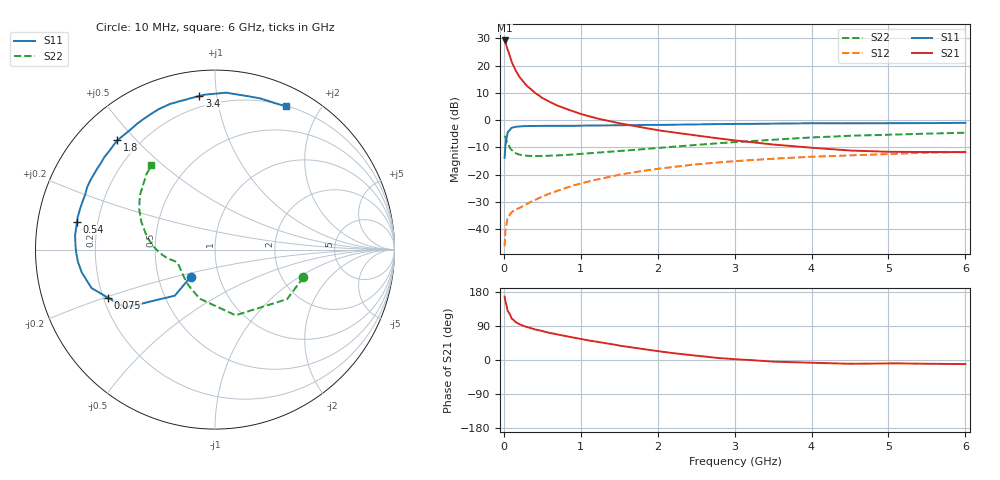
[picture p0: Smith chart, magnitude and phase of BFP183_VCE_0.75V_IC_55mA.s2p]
! Infineon Technologies  Discrete & RF Semiconductors
! BFP183
! VCE = 0.75V,  IC =  55 mA
! Common Emitter S-Parameters:  Jan 2016
# GHz  S  MA  R  50
!  f  S11  S21  S12  S22
! GHz  MAG  ANG  MAG  ANG  MAG  ANG  MAG  ANG
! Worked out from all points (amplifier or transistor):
!   210 points, 10 MHz to 6 GHz, reference 50 ohm
!   highest |S21| = 29.2 dB at 10 MHz (marker M1)
!   |S21| within 3 dB of that: start of sweep to 45.36 MHz
!   unconditionally stable (mu >= 1): start of sweep to 41.53 MHz; 121 MHz to end of sweep
!   at 185 MHz: K = 1.26, MAG = 21.5 dB, |S12| = -32.4 dB
!   at 1.52 GHz: K = 2.04, MAG = 3.5 dB, |S12| = -19.9 dB
!   at 6 GHz: K = 1.52, MAG = -4.3 dB, |S12| = -11.6 dB
!   S11 on the Smith chart (normalised r, x): 10 MHz: 0.73, -0.23; 75 MHz: 0.22, -0.21; 540 MHz: 0.12, +0.10; 1.8 GHz: 0.12, +0.44; 3.4 GHz: 0.14, +0.89; 6 GHz: 0.21, +1.59
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0.01  0.2034 -131.8  28.81 167.0  0.0049 60.8  0.5164 -17.4
0.02  0.3408 -131.1  27.13 154.9  0.0092 59.6  0.4873 -34.5
0.05  0.5965 -147.2  19.56 129.2  0.0162 46.9  0.3836 -72.6
0.075  0.6526 -155.7  15.45 121.9  0.0183 41.6  0.32 -87.4
0.1  0.7207 -162.7  11.77 109.8  0.0205 37.4  0.2863 -107.4
0.15  0.7536 -170.4  8.239 100.5  0.023 38.4  0.2491 -125.7
0.2  0.7673 -175.2  6.269 94.6  0.0245 40.2  0.2335 -136.5
0.26  0.7746 -179.5  4.886 89.6  0.027 42.9  0.2251 -144.5
0.3  0.7778 178.3  4.231 86.7  0.0292 45.6  0.2222 -148.4
0.4  0.7835 174.1  3.194 80.9  0.0342 50.9  0.2195 -154.2
0.5  0.7827 169.8  2.548 76.0  0.0397 53.3  0.2201 -157.8
0.54  0.7839 168.5  2.385 74.3  0.042 54.4  0.2212 -158.8
0.7  0.7854 163.1  1.837 67.1  0.0508 56.9  0.2258 -162.0
1.02  0.793 153.3  1.274 54.7  0.0701 58.0  0.241 -165.5
1.3  0.7966 145.5  1.006 44.8  0.0871 56.5  0.2579 -168.2
1.8  0.8163 131.8  0.733 28.9  0.1167 51.8  0.2938 -174.0
2.02  0.8168 125.8  0.646 23.0  0.1292 48.9  0.3099 -177.0
3.1  0.8511 101.4  0.411 1.1  0.1808 34.8  0.4036 165.4
3.4  0.8602 95.8  0.37 -2.8  0.1925 31.1  0.4301 160.6
4.1  0.8749 84.6  0.305 -7.9  0.2156 22.5  0.4875 149.9
5.1  0.8792 72.2  0.262 -8.9  0.2414 12.5  0.5454 136.6
6  0.8909 63.7  0.259 -10.8  0.2624 2.7  0.5884 127.1
